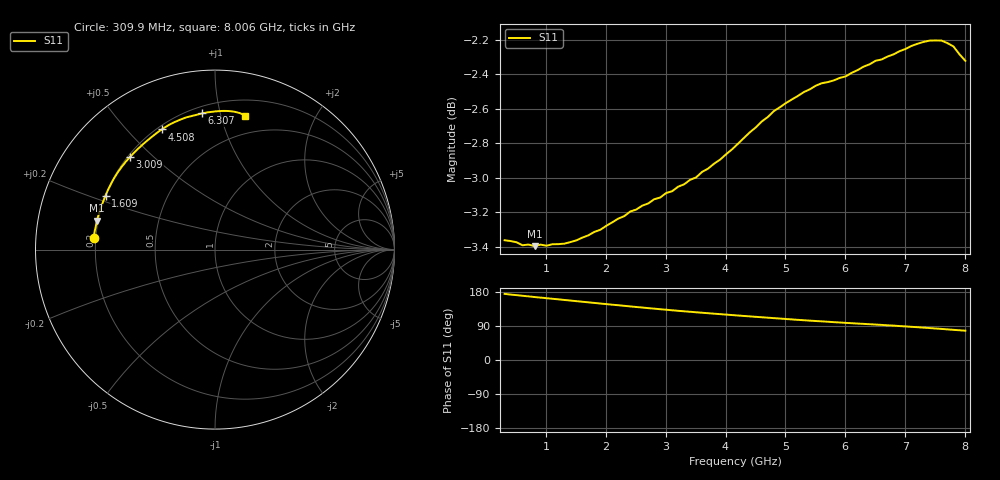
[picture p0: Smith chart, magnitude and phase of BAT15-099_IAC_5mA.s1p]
! Infineon Technologies  Discrete & RF Semiconductors
! BAT15-099
! IAC = 5 mA
! One-Port S-Parameters
# Hz  S  MA  R  50
!f  S11
!Hz  Mag  Ang
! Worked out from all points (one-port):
!   78 points, 309.9 MHz to 8.006 GHz, reference 50 ohm
!   lowest |S11| = -3.4 dB at 809.6 MHz (marker M1), VSWR 5.18, Z = 9.79 + j5.83 ohm
!   |S11| at or under -10 dB: nowhere
!   S11 on the Smith chart (normalised r, x): 309.9 MHz: 0.19, +0.05; 1.609 GHz: 0.20, +0.22; 3.009 GHz: 0.21, +0.42; 4.508 GHz: 0.22, +0.63; 6.307 GHz: 0.24, +0.88; 8.006 GHz: 0.33, +1.20
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3.0985e8  0.679 174.5
4.098e8  0.6787 172.7
8.096e8  0.6764 166.2
1.10945e9  0.6772 161.5
1.2094e9  0.6773 160.1
1.30935e9  0.6775 158.4
1.6092e9  0.6802 153.7
2.009e9  0.6856 147.5
2.30885e9  0.69 142.9
2.6087e9  0.6949 138.5
2.70865e9  0.6959 136.9
3.0085e9  0.7008 132.6
3.2084e9  0.7037 129.8
3.6082e9  0.7107 124.7
4.2079e9  0.7242 117.4
4.50775e9  0.7321 113.9
4.8076e9  0.7401 110.5
5.2074e9  0.7476 105.9
5.50725e9  0.7528 102.9
6.007e9  0.7574 98.0
6.10695e9  0.7592 97.1
6.30685e9  0.7624 95.3
6.8066e9  0.7687 90.7
7.10645e9  0.773 87.5
7.4063e9  0.7757 84.4
7.6062e9  0.7758 82.1
7.8061e9  0.7727 79.6
8.006e9  0.7653 77.3
